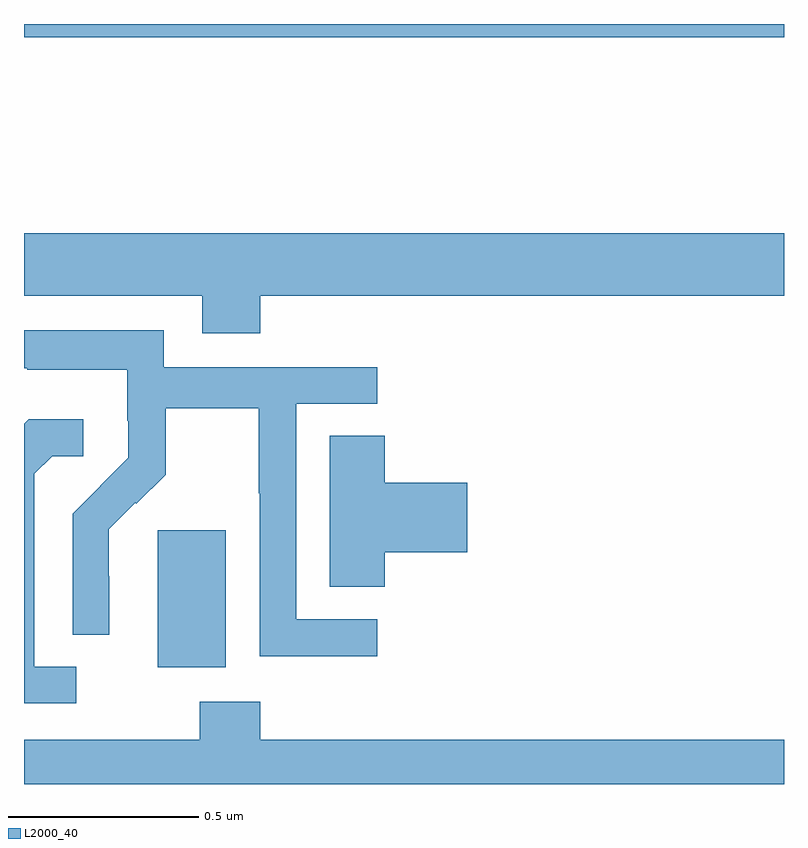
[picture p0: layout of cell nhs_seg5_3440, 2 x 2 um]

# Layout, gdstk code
import gdstk
lib = gdstk.Library(unit=1e-6, precision=1e-09)
def R(c, l, rs):  # rectangles x0, y0, x1, y1
    for r in rs: c.add(gdstk.rectangle(r[:2], r[2:], *l))
def P(c, l, *ps):  # polygons
    for p in ps: c.add(gdstk.Polygon(p, *l))
L2000_40 = (2000, 40)

nhs_seg5_3440 = lib.new_cell('nhs_seg5_3440')
R(nhs_seg5_3440, L2000_40, [(157.352,865.106,157.531,865.467), (157,866.764,159,866.799)])
P(nhs_seg5_3440, L2000_40, [(157.622,866.084),(159,866.084),(159,866.248),(157,866.248),(157,866.084),(157.469,866.084),(157.469,865.985),(157.622,865.985)],
  [(157.93,865.233),(157.716,865.233),(157.716,865.8),(157.93,865.8),(157.93,865.896),(157.368,865.896),(157.368,865.993),(157,865.993),(157,865.893),(157.009,865.893),(157.009,865.889),(157.272,865.889),(157.272,865.755),(157.274,865.755),(157.274,865.658),(157.2,865.584),(157.201,865.583),(157.128,865.51),(157.128,865.192),(157.224,865.192),(157.224,865.346),(157.223,865.346),(157.223,865.469),(157.293,865.539),(157.296,865.536),(157.373,865.613),(157.373,865.788),(157.618,865.788),(157.618,865.564),(157.62,865.564),(157.62,865.135),(157.93,865.135)],
  [(157.138,865.107),(157.027,865.107),(157.027,865.615),(157.074,865.662),(157.156,865.662),(157.156,865.759),(157.012,865.759),(157,865.747),(157,865.011),(157.138,865.011)],
  [(157.949,865.409),(158.167,865.409),(158.167,865.592),(157.949,865.592),(157.949,865.715),(157.805,865.715),(157.805,865.318),(157.949,865.318)],
  [(159,864.916),(157.622,864.916),(157.622,865.015),(157.462,865.015),(157.462,864.916),(157,864.916),(157,864.799),(159,864.799)])

lib.write_gds('nhs_seg5_3440.gds')
